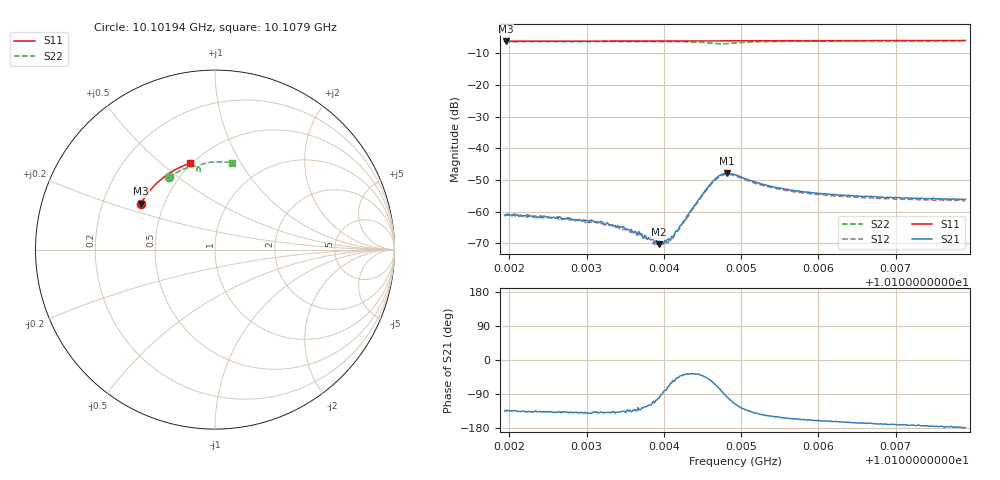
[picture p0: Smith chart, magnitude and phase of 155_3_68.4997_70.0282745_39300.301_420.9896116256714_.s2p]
#  HZ  S  RI  R  50.00
! Rohde & Schwarz Vector Network Analyzer
! Rohde-Schwarz,ZNB20-2Port,1311601062101988,3.16
! Created: UTC 3/20/2024, 4:55:34 PM
! freq[Hz]  re:S11  im:S11  re:S21  im:S21  re:S12  im:S12  re:S22  im:S22
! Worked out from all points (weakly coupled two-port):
!   401 points, 10.10194 GHz to 10.1079 GHz, reference 50 ohm
!   highest |S21| = -47.88 dB at 10.10482 GHz (marker M1); lowest = -70.2 dB at 10.10394 GHz (marker M2)
!   lowest |S11| = -6.3 dB at 10.10195 GHz (marker M3), VSWR 2.88, Z = 18.6 + j12.4 ohm
!   |S11| at or under -10 dB: nowhere
!   |S22| runs from -7.1 to -6.2 dB; largest |S21 - S12| = 0.00043
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1.010194e10  -0.4126 0.2551  -0.000624 -0.000619  -0.000535 -0.000662  -0.2579 0.4018
1.0101955e10  -0.412 0.2559  -0.000619 -0.000653  -0.000572 -0.000672  -0.2572 0.4024
1.0102253e10  -0.403 0.2718  -0.000625 -0.000619  -0.000566 -0.000639  -0.2412 0.4133
1.0102357e10  -0.3997 0.2772  -0.000582 -0.000555  -0.000557 -0.000632  -0.2351 0.4169
1.0102432e10  -0.3971 0.2811  -0.000608 -0.000598  -0.000559 -0.000584  -0.2311 0.4194
1.0102938e10  -0.3797 0.3064  -0.000536 -0.000476  -0.000502 -0.000491  -0.2019 0.4357
1.0103073e10  -0.375 0.3131  -0.000551 -0.000475  -0.000475 -0.0005  -0.1939 0.4397
1.0103326e10  -0.3655 0.3253  -0.000451 -0.000423  -0.000429 -0.000436  -0.1783 0.4469
1.010346e10  -0.3603 0.3315  -0.000405 -0.00039  -0.000339 -0.000397  -0.1694 0.4504
1.0103818e10  -0.3461 0.3479  -0.000176 -0.000326  -0.000155 -0.000354  -0.1457 0.4588
1.0103937e10  -0.341 0.3532  -5.58e-05 -0.000303  -9.76e-06 -0.000289  -0.137 0.461
1.0103967e10  -0.3398 0.3544  -7.04e-06 -0.000311  1.47e-05 -0.000308  -0.1347 0.4615
1.0104027e10  -0.3372 0.3571  5.74e-05 -0.000325  0.000116 -0.000305  -0.1301 0.4626
1.0104101e10  -0.3341 0.3603  0.000198 -0.000355  0.000225 -0.000295  -0.1244 0.4636
1.0104608e10  -0.3118 0.3814  0.00162 -0.00223  0.00172 -0.00203  -0.0813 0.4476
1.0104712e10  -0.3071 0.3854  0.00102 -0.00354  0.00125 -0.00328  -0.0845 0.4363
1.0104817e10  -0.3024 0.3895  -0.00053 -0.004  -0.000121 -0.00387  -0.096 0.4355
1.0104921e10  -0.2976 0.3935  -0.00166 -0.00344  -0.00132 -0.00341  -0.1015 0.4457
1.0105398e10  -0.275 0.4113  -0.00211 -0.00131  -0.00192 -0.00143  -0.072 0.4758
1.010592e10  -0.2487 0.4292  -0.00187 -0.000718  -0.00171 -0.000828  -0.0348 0.4848
1.0106919e10  -0.1955 0.4583  -0.00166 -0.000285  -0.00155 -0.000457  0.0318 0.4888
1.0107902e10  -0.1402 0.4803  -0.00158 -3.1e-05  -0.00147 -0.000189  0.0953 0.483
